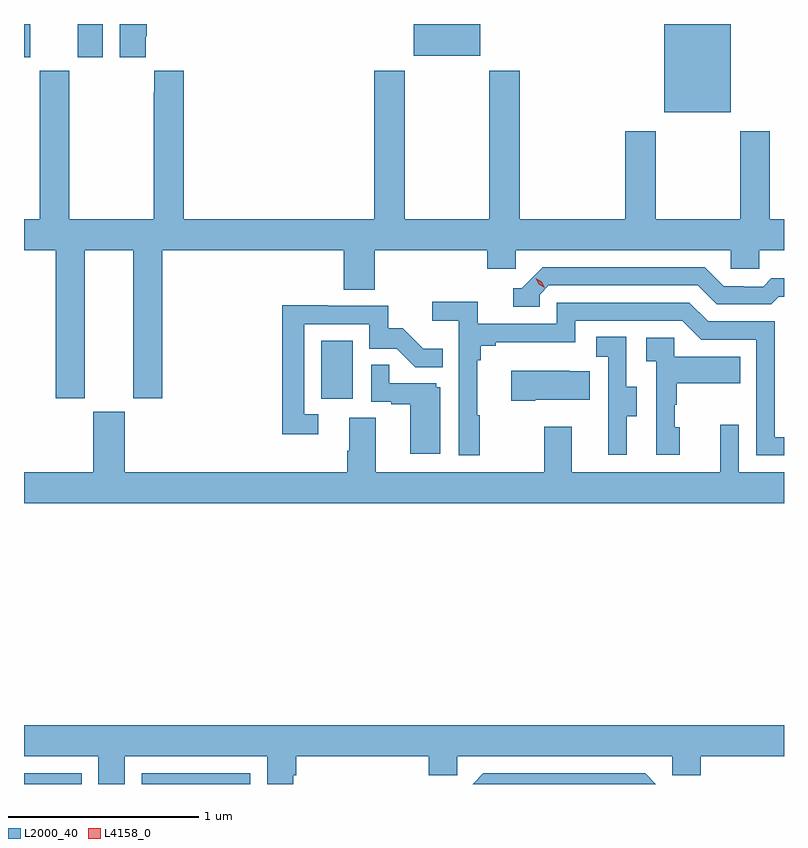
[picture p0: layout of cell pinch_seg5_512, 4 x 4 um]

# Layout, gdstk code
import gdstk
lib = gdstk.Library(unit=1e-6, precision=1e-09)
def R(c, l, rs):  # rectangles x0, y0, x1, y1
    for r in rs: c.add(gdstk.rectangle(r[:2], r[2:], *l))
def P(c, l, *ps):  # polygons
    for p in ps: c.add(gdstk.Polygon(p, *l))
L2000_40 = (2000, 40)
L4158_0 = (4158, 0)

pinch_seg5_512 = lib.new_cell('pinch_seg5_512')
R(pinch_seg5_512, L2000_40, [(927.879,833.971,928.182,834.027), (928.5,833.971,929.07,834.027), (929.444,835.998,929.608,836.305), (931.25,837.506,931.6,837.971), (927.879,837.795,927.913,837.971), (928.163,837.795,928.294,837.971), (929.93,837.803,930.28,837.971)])
P(pinch_seg5_512, L2000_40, [(928.519,837.907),(928.526,837.907),(928.526,837.971),(928.382,837.971),(928.382,837.795),(928.519,837.795)],
  [(928.198,836.78),(928.454,836.78),(928.454,836.001),(928.607,836.001),(928.607,836.78),(929.561,836.78),(929.561,836.572),(929.726,836.572),(929.726,836.78),(930.317,836.78),(930.317,836.682),(930.468,836.682),(930.468,836.78),(931.599,836.78),(931.599,836.682),(931.749,836.682),(931.749,836.78),(931.879,836.78),(931.879,836.944),(931.803,836.944),(931.803,837.406),(931.648,837.406),(931.648,836.944),(931.203,836.944),(931.203,837.406),(931.043,837.406),(931.043,836.944),(930.488,836.944),(930.488,837.724),(930.328,837.724),(930.328,836.944),(929.883,836.944),(929.883,837.724),(929.723,837.724),(929.723,836.944),(928.721,836.944),(928.721,837.724),(928.565,837.724),(928.565,837.611),(928.561,837.611),(928.561,836.944),(928.116,836.944),(928.116,837.724),(927.961,837.724),(927.961,836.944),(927.879,836.944),(927.879,836.78),(928.046,836.78),(928.046,836.001),(928.198,836.001)],
  [(930.594,836.547),(930.642,836.595),(931.425,836.595),(931.524,836.496),(931.813,836.496),(931.852,836.535),(931.879,836.535),(931.879,836.632),(931.813,836.632),(931.771,836.589),(931.668,836.589),(931.668,836.592),(931.561,836.592),(931.462,836.691),(930.609,836.691),(930.498,836.58),(930.455,836.58),(930.455,836.484),(930.594,836.484)],
  [(930.277,835.913),(930.265,835.913),(930.265,836.201),(930.284,836.201),(930.284,836.278),(930.361,836.278),(930.361,836.297),(930.78,836.297),(930.78,836.409),(931.344,836.409),(931.443,836.31),(931.734,836.31),(931.734,835.701),(931.879,835.701),(931.879,835.797),(931.83,835.797),(931.83,836.406),(931.48,836.406),(931.381,836.505),(930.684,836.505),(930.684,836.394),(930.266,836.394),(930.266,836.51),(930.027,836.51),(930.027,836.408),(930.168,836.408),(930.168,835.701),(930.277,835.701)],
  [(929.428,835.917),(929.355,835.917),(929.355,836.391),(929.697,836.391),(929.697,836.262),(929.841,836.262),(929.939,836.164),(930.083,836.164),(930.083,836.263),(929.979,836.263),(929.872,836.37),(929.796,836.37),(929.796,836.487),(929.477,836.487),(929.477,836.492),(929.239,836.492),(929.239,835.812),(929.428,835.812)],
  [(931.051,835.906),(931.105,835.906),(931.105,836.061),(931.05,836.061),(931.05,836.324),(930.891,836.324),(930.891,836.221),(930.954,836.221),(930.954,835.917),(930.953,835.917),(930.953,835.704),(931.051,835.704)],
  [(931.33,835.848),(931.305,835.848),(931.305,835.967),(931.315,835.967),(931.315,836.081),(931.649,836.081),(931.649,836.221),(931.302,836.221),(931.302,836.319),(931.155,836.319),(931.155,836.195),(931.206,836.195),(931.206,835.704),(931.33,835.704)],
  [(930.07,836.058),(930.048,836.058),(930.048,836.079),(929.801,836.079),(929.801,836.177),(929.706,836.177),(929.706,835.983),(929.813,835.983),(929.813,835.971),(929.912,835.971),(929.912,835.71),(930.07,835.71)],
  [(930.571,835.994),(930.857,835.994),(930.857,836.143),(930.749,836.143),(930.749,836.146),(930.443,836.146),(930.443,835.987),(930.571,835.987)],
  [(931.879,835.612),(931.641,835.612),(931.641,835.861),(931.544,835.861),(931.544,835.612),(930.763,835.612),(930.763,835.852),(930.616,835.852),(930.616,835.612),(929.731,835.612),(929.731,835.898),(929.591,835.898),(929.591,835.724),(929.579,835.724),(929.579,835.612),(928.408,835.612),(928.408,835.929),(928.244,835.929),(928.244,835.612),(927.879,835.612),(927.879,835.448),(931.879,835.448)],
  [(928.41,834.116),(929.16,834.116),(929.16,833.971),(929.297,833.971),(929.297,834.018),(929.312,834.018),(929.312,834.116),(930.009,834.116),(930.009,834.018),(930.159,834.018),(930.159,834.116),(931.29,834.116),(931.29,834.018),(931.442,834.018),(931.442,834.116),(931.879,834.116),(931.879,834.28),(927.879,834.28),(927.879,834.116),(928.271,834.116),(928.271,833.971),(928.41,833.971)],
  [(931.149,834.027),(930.296,834.027),(930.24,833.971),(931.205,833.971)])
P(pinch_seg5_512, L4158_0, [(930.619,836.582),(930.589,836.602),(930.573,836.634),(930.573,836.634),(930.573,836.634),(930.604,836.615),(930.619,836.583),(930.619,836.582)])

lib.write_gds('pinch_seg5_512.gds')
